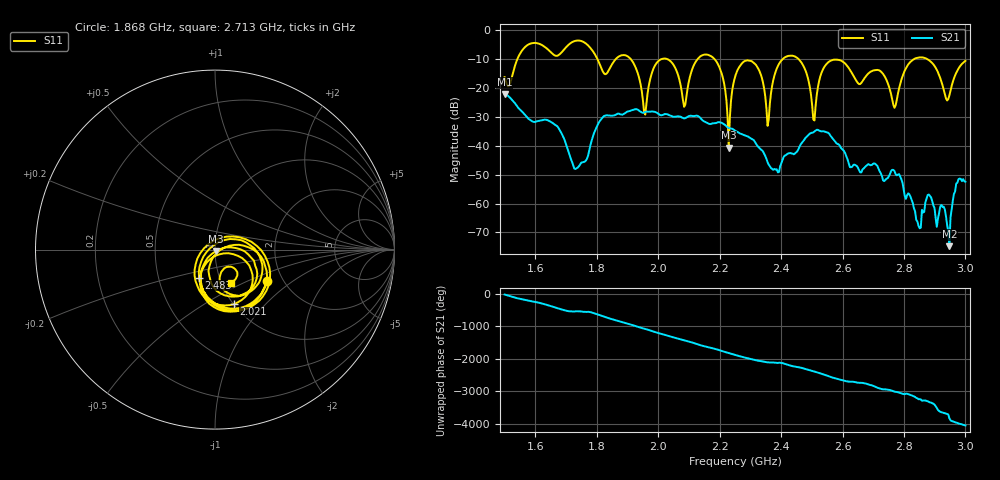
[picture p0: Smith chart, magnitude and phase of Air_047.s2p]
# HZ S RI R 50
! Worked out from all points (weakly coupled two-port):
!   404 points, 1.5 GHz to 3 GHz, reference 50 ohm
!   highest |S21| = -22.26 dB at 1.5 GHz (marker M1); lowest = -74.8 dB at 2.948 GHz (marker M2)
!   lowest |S11| = -40.7 dB at 2.23 GHz (marker M3), VSWR 1.02, Z = 50.5 - j0.814 ohm
!   |S11| at or under -10 dB: 2.183 GHz to 2.406 GHz (223 MHz wide, 9.72 % of centre); 2.456 GHz to 2.834 GHz (377.5 MHz wide, 14.3 % of centre); 2.875 GHz to end of sweep (the widest 3 of 7)
!   S12 and S22 are empty: the file has one direction only
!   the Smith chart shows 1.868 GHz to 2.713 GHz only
!   S11 on the Smith chart (normalised r, x): 1.868 GHz: 1.66, -0.65; 2.021 GHz: 1.00, -0.68; 2.483 GHz: 0.80, -0.26; 2.713 GHz: 1.11, -0.43
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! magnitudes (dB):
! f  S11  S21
! 1.5 GHz  -16.3  -22.3
! 1.753 GHz  -3.9  -45.8
! 1.868 GHz  -9.4  -28.9
! 1.958 GHz  -29.2  -28.3
! 2.002 GHz  -10.6  -29.2
! 2.021 GHz  -9.8  -29.0
! 2.084 GHz  -26.6  -30.6
! 2.177 GHz  -9.4  -32.3
! 2.23 GHz  -40.7  -33.8
! 2.252 GHz  -15.6  -34.9
! 2.315 GHz  -11.7  -38.8
! 2.356 GHz  -33.1  -45.7
! 2.386 GHz  -13.3  -48.2
! 2.483 GHz  -14.9  -37.0
! 2.501 GHz  -26.1  -35.5
! 2.561 GHz  -10.7  -36.6
! 2.713 GHz  -13.8  -47.0
! 2.751 GHz  -19.4  -50.6
! 2.859 GHz  -9.5  -62.2
! 2.881 GHz  -10.4  -56.9
! 2.948 GHz  -22.6  -74.8
! 3 GHz  -10.7  -52.5
